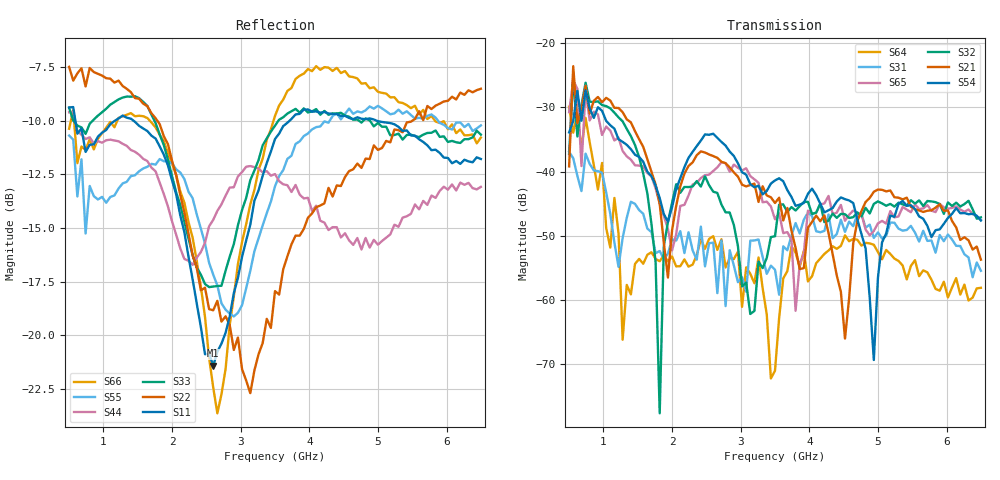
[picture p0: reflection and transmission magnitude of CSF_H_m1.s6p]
!Keysight Technologies,M9804A,MY58100912,A.14.10.03
!Date: Thursday, April 27, 2023 10:28:33
!Correction: S11(C  6-Port  )
!S12(C  6-Port  )
!S13(C  6-Port  )
!S14(C  6-Port  )
!S15(C  6-Port  )
!S16(C  6-Port  )
!S21(C  6-Port  )
!S22(C  6-Port  )
!S23(C  6-Port  )
!S24(C  6-Port  )
!S25(C  6-Port  )
!S26(C  6-Port  )
!S31(C  6-Port  )
!S32(C  6-Port  )
!S33(C  6-Port  )
!S34(C  6-Port  )
!S35(C  6-Port  )
!S36(C  6-Port  )
!S41(C  6-Port  )
!S42(C  6-Port  )
!S43(C  6-Port  )
!S44(C  6-Port  )
!S45(C  6-Port  )
!S46(C  6-Port  )
!S51(C  6-Port  )
!S52(C  6-Port  )
!S53(C  6-Port  )
!S54(C  6-Port  )
!S55(C  6-Port  )
!S56(C  6-Port  )
!S61(C  6-Port  )
!S62(C  6-Port  )
!S63(C  6-Port  )
!S64(C  6-Port  )
!S65(C  6-Port  )
!S66(C  6-Port  )
!S6P File: Measurement: :
# Hz S  RI  R 50
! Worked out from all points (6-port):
!   101 points, 500 MHz to 6.5 GHz, reference 50 ohm
!   strongest paths, dB at 500 MHz, 2 GHz, 3.5 GHz, 5 GHz, 6.5 GHz:
!     S54: -33.9, -45.6, -41.4, -56.6, -47.7
!     S21: -39.2, -49.2, -44.9, -42.8, -53.8
!     S32: -37.2, -44.9, -50.1, -44.7, -47.2
!     S65: -30.7, -52.3, -47.5, -48.1, -47.6
!     S31: -36.9, -50.6, -55.3, -49.5, -55.5
!     S64: -29.9, -53.3, -71.1, -52.6, -58.2
!   lowest |S11| = -21.4 dB at 2.6 GHz (marker M1), VSWR 1.19, Z = 42.5 + j2.2 ohm
!   |S11| at or under -10 dB: 590.3 MHz to 1.172 GHz (582.1 MHz wide, 66 % of centre); 1.435 GHz to 3.715 GHz (2.281 GHz wide, 88.6 % of centre); 4.975 GHz to end of sweep
